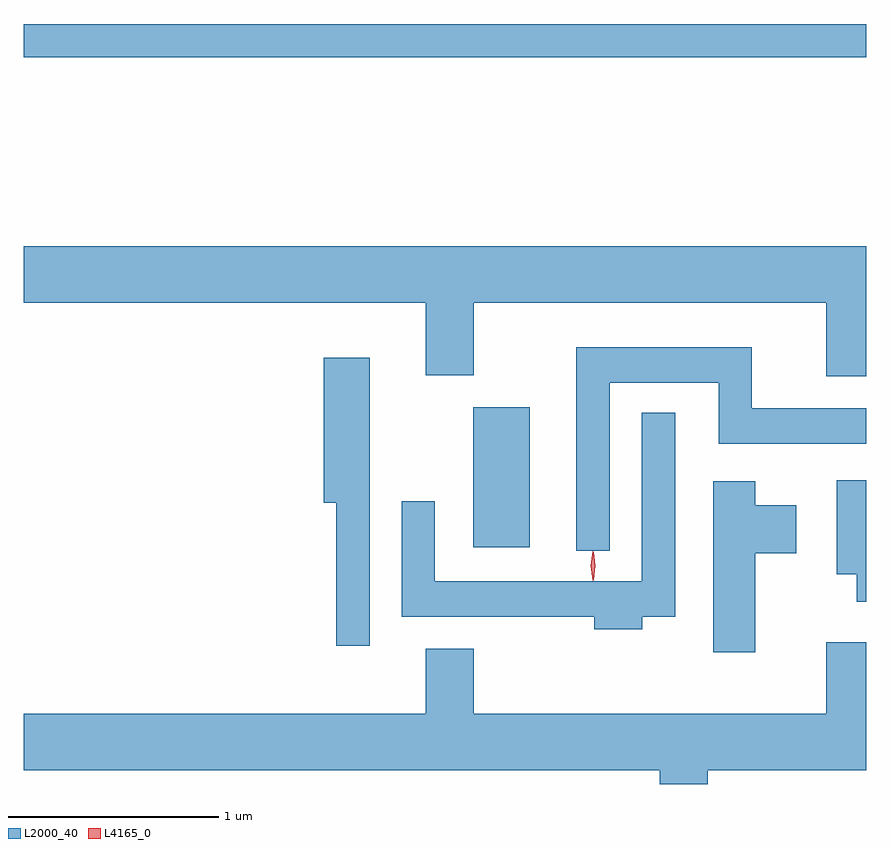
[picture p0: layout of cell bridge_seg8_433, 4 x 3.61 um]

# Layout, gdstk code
import gdstk
lib = gdstk.Library(unit=1e-6, precision=1e-09)
def R(c, l, rs):  # rectangles x0, y0, x1, y1
    for r in rs: c.add(gdstk.rectangle(r[:2], r[2:], *l))
def P(c, l, *ps):  # polygons
    for p in ps: c.add(gdstk.Polygon(p, *l))
L2000_40 = (2000, 40)
L4165_0 = (4165, 0)

bridge_seg8_433 = lib.new_cell('bridge_seg8_433')
R(bridge_seg8_433, L2000_40, [(985.606,1819.716,985.874,1820.379), (983.472,1822.041,987.472,1822.199)])
P(bridge_seg8_433, L2000_40, [(987.472,1821.144),(983.472,1821.144),(983.472,1820.876),(985.381,1820.876),(985.381,1820.531),(985.609,1820.531),(985.609,1820.876),(987.281,1820.876),(987.281,1820.526),(987.472,1820.526)],
  [(986.254,1820.496),(986.771,1820.496),(986.771,1820.206),(987.472,1820.206),(987.472,1820.374),(986.929,1820.374),(986.929,1820.664),(986.096,1820.664),(986.096,1819.698),(986.254,1819.698)],
  [(985.114,1820.614),(984.896,1820.614),(984.896,1819.926),(984.956,1819.926),(984.956,1819.248),(985.114,1819.248)],
  [(986.409,1819.386),(986.564,1819.386),(986.564,1820.353),(986.406,1820.353),(986.406,1819.554),(985.424,1819.554),(985.424,1819.933),(985.266,1819.933),(985.266,1819.386),(986.181,1819.386),(986.181,1819.326),(986.409,1819.326)],
  [(987.472,1820.034),(987.331,1820.034),(987.331,1819.586),(987.426,1819.586),(987.426,1819.456),(987.472,1819.456)],
  [(986.944,1819.686),(987.139,1819.686),(987.139,1819.914),(986.944,1819.914),(986.944,1820.029),(986.746,1820.029),(986.746,1819.216),(986.944,1819.216)],
  [(986.719,1818.656),(987.472,1818.656),(987.472,1819.264),(987.281,1819.264),(987.281,1818.924),(985.609,1818.924),(985.609,1819.234),(985.381,1819.234),(985.381,1818.924),(983.472,1818.924),(983.472,1818.656),(986.491,1818.656),(986.491,1818.591),(986.719,1818.591)])
P(bridge_seg8_433, L4165_0, [(986.174,1819.557),(986.173,1819.558),(986.164,1819.626),(986.173,1819.696),(986.174,1819.696),(986.174,1819.696),(986.184,1819.626),(986.174,1819.558)],
  [(986.177,1819.559),(986.176,1819.56),(986.166,1819.626),(986.176,1819.692),(986.176,1819.693),(986.177,1819.692),(986.186,1819.626),(986.177,1819.56)])

lib.write_gds('bridge_seg8_433.gds')
